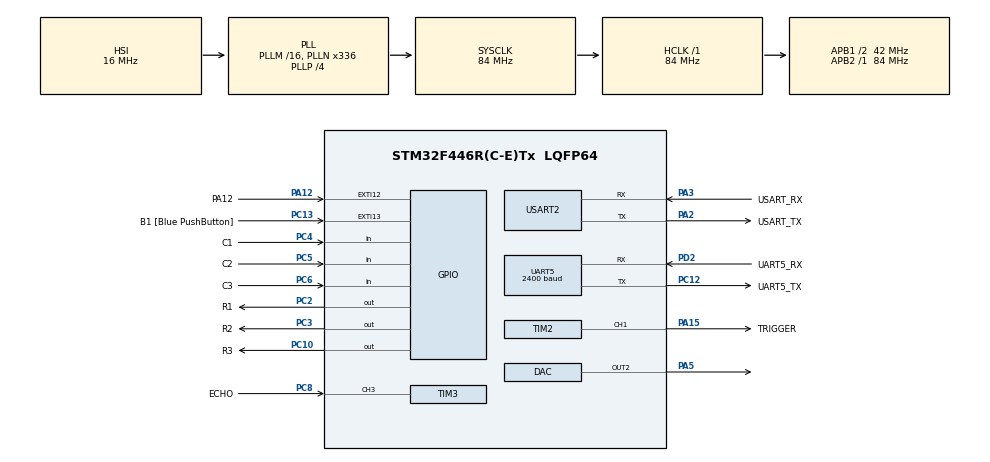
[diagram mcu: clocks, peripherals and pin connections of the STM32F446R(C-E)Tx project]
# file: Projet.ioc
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Dma.DAC2.0.Direction=DMA_MEMORY_TO_PERIPH
Dma.DAC2.0.FIFOMode=DMA_FIFOMODE_DISABLE
Dma.DAC2.0.Instance=DMA1_Stream6
Dma.DAC2.0.MemDataAlignment=DMA_MDATAALIGN_WORD
Dma.DAC2.0.MemInc=DMA_MINC_ENABLE
Dma.DAC2.0.Mode=DMA_NORMAL
Dma.DAC2.0.PeriphDataAlignment=DMA_PDATAALIGN_WORD
Dma.DAC2.0.PeriphInc=DMA_PINC_DISABLE
Dma.DAC2.0.Priority=DMA_PRIORITY_LOW
Dma.Request0=DAC2
Dma.Request1=UART5_TX
Dma.UART5_TX.1.Direction=DMA_MEMORY_TO_PERIPH
Dma.UART5_TX.1.FIFOMode=DMA_FIFOMODE_DISABLE
Dma.UART5_TX.1.Instance=DMA1_Stream7
Dma.UART5_TX.1.MemDataAlignment=DMA_MDATAALIGN_BYTE
Dma.UART5_TX.1.MemInc=DMA_MINC_ENABLE
Dma.UART5_TX.1.Mode=DMA_CIRCULAR
Dma.UART5_TX.1.PeriphDataAlignment=DMA_PDATAALIGN_BYTE
Dma.UART5_TX.1.PeriphInc=DMA_PINC_DISABLE
Dma.UART5_TX.1.Priority=DMA_PRIORITY_HIGH
Mcu.Family=STM32F4
Mcu.Name=STM32F446R(C-E)Tx
Mcu.Package=LQFP64
NVIC.DMA1_Stream6_IRQn=true\:0\:0\:false\:false\:true\:false\:true\:true
NVIC.DMA1_Stream7_IRQn=true\:0\:0\:false\:false\:true\:false\:true\:true
NVIC.PriorityGroup=NVIC_PRIORITYGROUP_0
NVIC.TIM3_IRQn=true\:0\:0\:false\:false\:true\:true\:true\:true
NVIC.UART5_IRQn=true\:0\:0\:false\:false\:true\:true\:true\:true
PA12.GPIO_Label=PA12
PA12.Signal=GPXTI12
PA13.GPIO_Label=TMS
PA13.Mode=Serial_Wire
PA13.Signal=SYS_JTMS-SWDIO
PA14.GPIO_Label=TCK
PA14.Mode=Serial_Wire
PA14.Signal=SYS_JTCK-SWCLK
PA15.GPIO_Label=TRIGGER
PA15.Signal=S_TIM2_CH1_ETR
PA2.GPIO_Label=USART_TX
PA2.Mode=Asynchronous
PA2.Signal=USART2_TX
PA3.GPIO_Label=USART_RX
PA3.Mode=Asynchronous
PA3.Signal=USART2_RX
PA5.Signal=COMP_DAC2_group
PB1.Signal=ADCx_IN9
PB3.GPIO_Label=SWO
PB3.Signal=SYS_JTDO-SWO
PC10.GPIO_Label=R3
PC10.GPIO_ModeDefaultOutputPP=GPIO_MODE_OUTPUT_OD
PC10.GPIO_PuPd=GPIO_NOPULL
PC10.Signal=GPIO_Output
PC12.GPIO_Label=UART5_TX
PC12.Mode=Asynchronous
PC12.Signal=UART5_TX
PC13.GPIO_Label=B1 [Blue PushButton]
PC13.GPIO_ModeDefaultEXTI=GPIO_MODE_IT_FALLING
PC13.Signal=GPXTI13
PC14-OSC32_IN.Mode=LSE-External-Oscillator
PC14-OSC32_IN.Signal=RCC_OSC32_IN
PC15-OSC32_OUT.Mode=LSE-External-Oscillator
PC15-OSC32_OUT.Signal=RCC_OSC32_OUT
PC2.GPIO_Label=R1
PC2.GPIO_ModeDefaultOutputPP=GPIO_MODE_OUTPUT_OD
PC2.GPIO_PuPd=GPIO_NOPULL
PC2.Signal=GPIO_Output
PC3.GPIO_Label=R2
PC3.GPIO_ModeDefaultOutputPP=GPIO_MODE_OUTPUT_OD
PC3.GPIO_PuPd=GPIO_NOPULL
PC3.Signal=GPIO_Output
PC4.GPIO_Label=C1
PC4.GPIO_PuPd=GPIO_PULLUP
PC4.Signal=GPIO_Input
PC5.GPIO_Label=C2
PC5.GPIO_PuPd=GPIO_PULLUP
PC5.Signal=GPIO_Input
PC6.GPIO_Label=C3
PC6.GPIO_PuPd=GPIO_PULLUP
PC6.Signal=GPIO_Input
PC8.GPIO_Label=ECHO
PC8.Signal=S_TIM3_CH3
PD2.GPIO_Label=UART5_RX
PD2.Mode=Asynchronous
PD2.Signal=UART5_RX
PH0-OSC_IN.Mode=HSE-External-Oscillator
PH0-OSC_IN.Signal=RCC_OSC_IN
PH1-OSC_OUT.Mode=HSE-External-Oscillator
PH1-OSC_OUT.Signal=RCC_OSC_OUT
ProjectManager.HeapSize=0x200
ProjectManager.StackSize=0x400
ProjectManager.TargetToolchain=MDK-ARM V5.32
RCC.48MHZClocksFreq_Value=84000000
RCC.AHBFreq_Value=84000000
RCC.APB1CLKDivider=RCC_HCLK_DIV2
RCC.APB1Freq_Value=42000000
RCC.APB1TimFreq_Value=84000000
RCC.APB2Freq_Value=84000000
RCC.APB2TimFreq_Value=84000000
RCC.CortexFreq_Value=84000000
RCC.FLatency-AdvancedSettings=FLASH_LATENCY_2
RCC.HCLKFreq_Value=84000000
RCC.HSE_VALUE=8000000
RCC.HSI_VALUE=16000000
RCC.PLLN=336
RCC.PLLP=RCC_PLLP_DIV4
RCC.SYSCLKFreq_VALUE=84000000
RCC.SYSCLKSource=RCC_SYSCLKSOURCE_PLLCLK
RCC.USBFreq_Value=168000000
RCC.VCOOutputFreq_Value=336000000
SH.ADCx_IN9.0=ADC1_IN9
SH.COMP_DAC2_group.0=DAC_OUT2,DAC_OUT2
SH.S_TIM2_CH1_ETR.0=TIM2_CH1,PWM Generation1 CH1
SH.S_TIM3_CH3.0=TIM3_CH3,Input_Capture3_from_TI3
TIM2.Channel-PWM\ Generation1\ CH1=TIM_CHANNEL_1
TIM2.CounterMode=TIM_COUNTERMODE_UP
TIM2.OCMode_PWM-PWM\ Generation1\ CH1=TIM_OCMODE_PWM1
TIM2.Period=199999
TIM2.Prescaler=83
TIM2.Pulse-PWM\ Generation1\ CH1=10
TIM2.TIM_MasterOutputTrigger=TIM_TRGO_RESET
TIM3.Channel-Input_Capture3_from_TI3=TIM_CHANNEL_3
TIM3.ICPolarity_CH3=TIM_INPUTCHANNELPOLARITY_BOTHEDGE
TIM3.Period=0xFFFF
TIM3.Prescaler=83
UART5.BaudRate=2400
UART5.VirtualMode=Asynchronous
USART2.VirtualMode=VM_ASYNC
VP_TIM2_VS_ClockSourceINT.Mode=Internal
VP_TIM3_VS_ClockSourceINT.Mode=Internal
board=NUCLEO-F446RE

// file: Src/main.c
/* USER CODE BEGIN Header */
/**
  ******************************************************************************
  * @file           : main.c
  * @brief          : Main program body
  ******************************************************************************
  * @attention
  *
  * Copyright (c) 2022 STMicroelectronics.
  * All rights reserved.
  *
  * This software is licensed under terms that can be found in the LICENSE file
  * in the root directory of this software component.
  * If no LICENSE file comes with this software, it is provided AS-IS.
  *
  ******************************************************************************
  */
/* USER CODE END Header */
#include "main.h"
#include "dac.h"
#include "dma.h"
#include "tim.h"
#include "usart.h"
#include "gpio.h"

/* USER CODE BEGIN Includes */
#define ARM_MATH_CM4
#include "arm_math.h"

#include "stdio.h"
#include "stdlib.h"
#include "MCUFRIEND_kbv.h"
#include "avatar.h"

/* USER CODE END Includes */

/* USER CODE BEGIN PV */
	struct Avatar avatar;
	struct Obstacle obstacle;

	static int distance_de_jeu = 500;

	int gameover = 0;
	volatile int scroll = 0;
	int timer = 0;
	int full_timer = 0;
	int speed = 200;

			// Partie A
	int newPosy = 210;
	uint32_t valeur_1 = 0;
	uint32_t valeur_2 = 0;
	uint32_t distance = 0;
	int difference = 0;
	bool deuxiemeCapture = false;
	volatile bool max_distance = false;

	volatile int hand = true;
	volatile int handCounter = 0;
	static int handCounterPeriod = 3;
	uint32_t last_distance = 0;

	volatile int flagMulti = 0;
	int score = 0;

	static int screen_x = 320;
	static int screen_y = 240;
	static int background_color = BLACK;

			// Partie B
	uint8_t bufferTX[10];
	uint8_t bufferRx;		// Réception d'un octet pour analyse
	volatile int posRecu = 0;  //Variable où sera stocké temporairement les valeurs reçues avant confirmation de l'octer 254
	volatile int idRecu = 0;
	volatile int flag = 0;
	volatile int etat = 0;
	volatile int recepOk = 0; //Indique si la recpetion des données c'est fait sans problème

			//Valeurs pour l'envoie PWM avec la del infrarouge
	float valueSin[1000];
	#define TABLE_LENGTH 69
	int valueHigh[TABLE_LENGTH]; //Tableau contenant les valeurs du pwm lorsque l'on envoie un bit '1'
	int  valueLow[TABLE_LENGTH]; //Tableau contenant les valeurs du pwm lorsque l'on envoie un bit '0'
	volatile int* current_tab = valueHigh;
	volatile bool FlagT = 0;

	//test message
	int  pos = 0;
	int  id = 0;

	bool commandeHand = 0;
	int commandePos = 0;

/* USER CODE END PV */

void SystemClock_Config(void);
void startGame();
/* USER CODE BEGIN PFP */

// TODO: Voir si la fonction est utilisée
void resetBuffer(uint8_t* array){
	for(int i = 0; i < 10; ++i){
		array[i] = 0;
	}
}
/* USER CODE END PFP */

/* USER CODE BEGIN 0 */
#ifndef __GNUC__
#define PUTCHAR_PROTOTYPE int __io_putchar(int ch)
#else
#define PUTCHAR_PROTOTYPE int fputc(int ch, FILE *f)
#endif /* __GNUC__ */

void HAL_SYSTICK_Callback(void) {
	full_timer++;
	timer++;

	if (timer >= speed){
		scroll = 1;
		timer = 0;
	}
}

/* USER CODE END 0 */

int main(void)
{

  /* MCU Configuration--------------------------------------------------------*/

  /* Reset of all peripherals, Initializes the Flash interface and the Systick. */
  HAL_Init();

  /* Configure the system clock */
  SystemClock_Config();

  /* Initialize all configured peripherals */
  MX_GPIO_Init();
  MX_DMA_Init();
  MX_USART2_UART_Init();
  MX_TIM2_Init();
  MX_TIM3_Init();
  MX_DAC_Init();
  MX_UART5_Init();
  /* USER CODE BEGIN 2 */

	initGame(&avatar, &obstacle);
	drawAvatar(&avatar);

	HAL_TIM_PWM_Init(&htim2);
  HAL_TIM_IC_Init(&htim3);
	HAL_TIM_PWM_Start(&htim2, TIM_CHANNEL_1);
	HAL_TIM_IC_Start_IT(&htim3, TIM_CHANNEL_3);

	HAL_DAC_Start_DMA(&hdac, DAC_CHANNEL_2, (uint32_t *)current_tab, TABLE_LENGTH, DAC_ALIGN_12B_R);
	HAL_UART_Transmit_DMA(&huart5, bufferTX, sizeof(bufferTX));
	HAL_UART_Receive_IT(&huart5,&bufferRx, 1);

	//Préchargement des valeurs de sinus
	float period = 1.0/1000; //period est l'intervalle entre les échantillons d'un periode
	for(int g =0; g<1000 ; g++){
		valueSin[g] = 1 + sin(2*PI*g*period);
	}
	//Préchargement du tableau valueHigh
	for(int g = 0; g < TABLE_LENGTH; ++g){
		valueHigh[g] = (int)4095.0 *valueSin[(int)(g/14.4762)];
	}

		//Préchargement du tableau valueLow
	for(int g = 0; g < TABLE_LENGTH; ++g){
		valueLow[g] = 0;
	}

	//Remplissage du buffer d'envoie
	bufferTX[0] = 255;
	bufferTX[1] = pos;
	bufferTX[2] = id;
	bufferTX[3] = 254;

	initGame(&avatar, &obstacle);
	drawAvatar(&avatar);
  /* USER CODE END 2 */

  /* Infinite loop */
  while (1) {

    /* USER CODE BEGIN 3 */

		// STARTING SCREEN
		HAL_Delay(100);
		startGame();
		HAL_Delay(100);
		while(!hand);
		while(hand){
			if (distance > 100){
				flagMulti = 1;
				LCD_FillCircle(60, screen_y/2 + 30, 4, background_color);
				LCD_FillCircle(60, screen_y/2 + 65, 4, RED);
			}
			else{
				flagMulti = 0;
				LCD_FillCircle(60, screen_y/2 + 30, 4, RED);
				LCD_FillCircle(60, screen_y/2 + 65, 4, background_color);
			}
		}

		initGame(&avatar, &obstacle);
		drawAvatar(&avatar);
		HAL_Delay(500);

		while(1){

			if (flagMulti == 0){
				while(!scroll);
				scroll = 0;
				avatar.previous_posy = avatar.posy;
				newPosy = 210 - (int) distance*0.42;
				avatar.posy = newPosy;
				moveAvatar(&avatar);
				obstacle.hand = 0;
				obstacle.commande = rand()%210;
				//obstacle.posy = newPosy;
				moveObstacle(&obstacle);
				gameover = lookColision(&avatar, &obstacle);
				}

			if (flagMulti == 1){
				while(!flag);
				flag = 0;
				if(recepOk){
					recepOk = 0;
					commandePos = 2 * posRecu;
					commandeHand = idRecu;
				}
				else{
					//printf("FAIL\r\n");
					posRecu = 0;
					idRecu = 0;
				}
				printf("Pixel : %i Hand? : %i\r\n", commandePos, commandeHand);

				while(!scroll);
				scroll = 0;
				avatar.previous_posy = avatar.posy;
				newPosy = 210 - (int) distance*0.42;
				avatar.posy = newPosy;
				moveAvatar(&avatar);
				obstacle.hand = commandeHand;
				newPosy = 210 - commandePos;
				obstacle.commande = newPosy;
				//obstacle.posy = newPosy;
				moveObstacle(&obstacle);
				drawIndicateurObstacle(&obstacle);
				obstacle.last_commande = obstacle.commande;
				gameover = lookColision(&avatar, &obstacle);
				}

			if (gameover) {
				HAL_Delay(5000);
				score = 0;
				obstacle.score = score;
				break;
			}

			LCD_SetCursor(screen_x/2 - 50 ,0);
			LCD_FillRect(screen_x/2 - 50 ,0, 200, 20, background_color);
			LCD_Printf("SCORE : %d", score);
			score++;
			obstacle.score = score;
		}
	}
  /* USER CODE END 3 */
}

void SystemClock_Config(void)
{
  RCC_OscInitTypeDef RCC_OscInitStruct = {0};
  RCC_ClkInitTypeDef RCC_ClkInitStruct = {0};

  /** Configure the main internal regulator output voltage
  */
  __HAL_RCC_PWR_CLK_ENABLE();
  __HAL_PWR_VOLTAGESCALING_CONFIG(PWR_REGULATOR_VOLTAGE_SCALE3);

  /** Initializes the RCC Oscillators according to the specified parameters
  * in the RCC_OscInitTypeDef structure.
  */
  RCC_OscInitStruct.OscillatorType = RCC_OSCILLATORTYPE_HSI;
  RCC_OscInitStruct.HSIState = RCC_HSI_ON;
  RCC_OscInitStruct.HSICalibrationValue = RCC_HSICALIBRATION_DEFAULT;
  RCC_OscInitStruct.PLL.PLLState = RCC_PLL_ON;
  RCC_OscInitStruct.PLL.PLLSource = RCC_PLLSOURCE_HSI;
  RCC_OscInitStruct.PLL.PLLM = 16;
  RCC_OscInitStruct.PLL.PLLN = 336;
  RCC_OscInitStruct.PLL.PLLP = RCC_PLLP_DIV4;
  RCC_OscInitStruct.PLL.PLLQ = 2;
  RCC_OscInitStruct.PLL.PLLR = 2;
  if (HAL_RCC_OscConfig(&RCC_OscInitStruct) != HAL_OK)
  {
    Error_Handler();
  }

  /** Initializes the CPU, AHB and APB buses clocks
  */
  RCC_ClkInitStruct.ClockType = RCC_CLOCKTYPE_HCLK|RCC_CLOCKTYPE_SYSCLK
                              |RCC_CLOCKTYPE_PCLK1|RCC_CLOCKTYPE_PCLK2;
  RCC_ClkInitStruct.SYSCLKSource = RCC_SYSCLKSOURCE_PLLCLK;
  RCC_ClkInitStruct.AHBCLKDivider = RCC_SYSCLK_DIV1;
  RCC_ClkInitStruct.APB1CLKDivider = RCC_HCLK_DIV2;
  RCC_ClkInitStruct.APB2CLKDivider = RCC_HCLK_DIV1;

  if (HAL_RCC_ClockConfig(&RCC_ClkInitStruct, FLASH_LATENCY_2) != HAL_OK)
  {
    Error_Handler();
  }
}

/* USER CODE BEGIN 4 */
/**
* @brief Retargets the C library printf function to the USART.
* @param None
* @retval None
*/
PUTCHAR_PROTOTYPE
{
/* Place your implementation of fputc here */
/* e.g. write a character to the USART2 and Loop until the end
of transmission */
HAL_UART_Transmit(&huart2, (uint8_t *)&ch, 1, 0xFFFF);
return ch;
}

void HAL_TIM_IC_CaptureCallback(TIM_HandleTypeDef *htim){

	if (htim->Channel == HAL_TIM_ACTIVE_CHANNEL_3){
		if(deuxiemeCapture == false){
			valeur_1 = HAL_TIM_ReadCapturedValue(htim, TIM_CHANNEL_3);
		//	valeur_1 = TIM3->CCR3;
			deuxiemeCapture = true;
			__HAL_TIM_SET_CAPTUREPOLARITY(htim, TIM_CHANNEL_3, TIM_INPUTCHANNELPOLARITY_FALLING);
		}
		else if(deuxiemeCapture == true){
			valeur_2 = HAL_TIM_ReadCapturedValue(htim, TIM_CHANNEL_3);
			//valeur_2 = TIM3->CCR3;
			__HAL_TIM_SET_COUNTER(htim, 0);

			if (valeur_2 > valeur_1)
			{
				difference = valeur_2 - valeur_1;
			}

			else if (valeur_1 > valeur_2)
			{
				difference = (0xffff - valeur_1) + valeur_2;
			}

			distance = difference *.34/2;

			if(distance<=distance_de_jeu){
				max_distance = 0;
				last_distance = distance;
			}

			if(distance>distance_de_jeu){
				max_distance = 1;
				distance = last_distance;
			}

			deuxiemeCapture = false;
			__HAL_TIM_SET_CAPTUREPOLARITY(htim, TIM_CHANNEL_3, TIM_INPUTCHANNELPOLARITY_RISING);

			}

	}
	if(max_distance == 1){
		handCounter++;
		if(handCounter > handCounterPeriod){
			hand = false;
		}
	}
	else if(max_distance == 0){
		handCounter = 0;
		hand = true;
	}

	//printf("Value : %f   max_distance : %d   hand ? : %d \r\n",(double) distance/10, max_distance, hand);
}

void HAL_UART_TxCpltCallback(UART_HandleTypeDef *huart)
{
	//bufferTX[1] = (int) distance*0.42;
	//bufferTX[2] = hand;
	//HAL_UART_Transmit_DMA(&huart5, bufferTX, sizeof(bufferTX));
}

void HAL_UART_RxCpltCallback(UART_HandleTypeDef *huart)
{
	//Machine à état
	switch (etat){
		//Reception du premier octe
		case 0:
			if(bufferRx == 255){  //reception de l'octet de start
				etat = 1;
			}
			break;

		//Reception des données de position
		case 1: 						//Reception de la position
			if(bufferRx == 255){  //reception de l'octet de start
				etat = 1;
			}else{
				posRecu = bufferRx;
				etat = 2;
			}
			break;

		//Reception des données d'id
		case 2:						//Reception de l'id
			if(bufferRx == 255){  //reception de l'octet de start
				etat = 1;
			}else{
				idRecu = bufferRx;
				etat = 3;
			}
			break;

		//Reception de l'octet de stop 254
		case 3:
			if(bufferRx == 255){  //reception de l'octet de start
				etat = 1;
			}else{
				if(bufferRx == 254){ //reception de l'octet de stop
					recepOk = 1;
				}else{
					recepOk = 0;
				}
				etat = 0;
				flag = 1;
			}
			break;

		//Default
		default:
			etat = 0;
			break;
	}
	HAL_UART_Receive_IT (&huart5, &bufferRx, 1);
	//printf("BufferRX : %i PosRecu : %i IdRecu : %i RecepOk : %i \r\n", bufferRx, posRecu, idRecu, recepOk);
}

//Changement du signal sur la DEL infrarouge lorsqu'il y un changement sur la pin PA12 qui est reliée à la pin TX
void HAL_GPIO_EXTI_Callback(uint16_t GPIO_Pin)
{
		// On change entre un signal sinusoidal et un signal de zero lorsqu'il y a un changement sur la pin PA12
    if(FlagT) //HAL_GPIO_ReadPin(PA12_GPIO_Port, GPIO_Pin)== GPIO_PIN_RESET
    {
			current_tab = valueLow;
			FlagT = 0;
    }
		else{
			current_tab = valueHigh;
			FlagT = 1;
		}
}
void HAL_DACEx_ConvCpltCallbackCh2(DAC_HandleTypeDef* hdac) {
	HAL_DAC_Start_DMA(hdac, DAC_CHANNEL_2, (uint32_t *)current_tab, TABLE_LENGTH, DAC_ALIGN_12B_R);
}

/* USER CODE END 4 */

void Error_Handler(void)
{
  __disable_irq();
  while (1)
  {
  }
}

void startGame() {
		LCD_FillScreen(background_color);
		LCD_SetTextColor(WHITE, WHITE);
		LCD_SetTextSize(2);
		LCD_SetCursor(0, 0);
		LCD_Printf("! PROJET !");
		LCD_SetCursor(screen_x/2 - 50, screen_y/2 - 40);
		LCD_Printf("+DINO RUN+");
		LCD_SetCursor(screen_x/2 - 80, screen_y/2 + 20);
		LCD_Printf("SINGLE PLAYER");
		LCD_SetCursor(screen_x/2 - 80, screen_y/2 + 50);
		LCD_Printf("MULTIPLAYER");
}
